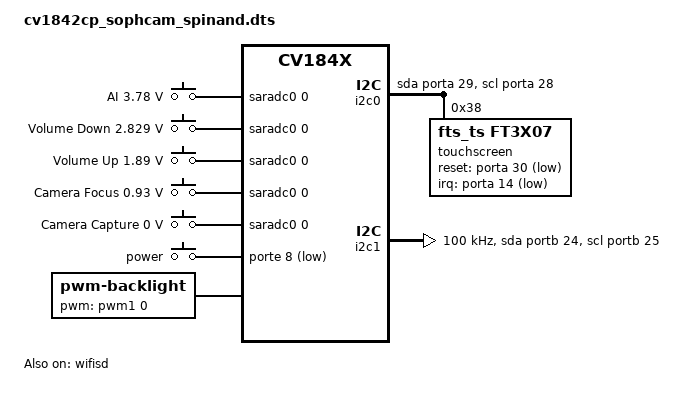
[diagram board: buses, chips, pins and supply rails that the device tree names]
/dts-v1/;
#include "cv184x_base_arm.dtsi"
#include "cv184x_asic_qfn.dtsi"
#include "cv184x_asic_spinand.dtsi"
#include "cv184x_default_memmap.dtsi"

/ {
	adc-key2 {
		compatible = "adc-keys";
		io-channels = <&saradc0 0>; // ADC1
		io-channel-names = "buttons";
		keyup-threshold-microvolt = <4095000>; // raw value
		poll-interval = <50>; // ms
		debounce-steps = <2>; // 2次采样值相同才认为按键状态改变

		button-ai {
			label = "AI";
			linux,code = <KEY_PLAY>;
			press-threshold-microvolt = <3780000>;
		};

		button-vol-down {
			label = "Volume Down";
			linux,code = <KEY_VOLUMEDOWN>;
			press-threshold-microvolt = <2829000>;
		};

		button-vol-up {
			label = "Volume Up";
			linux,code = <KEY_VOLUMEUP>;
			press-threshold-microvolt = <1890000>;
		};

		button-cam-focus {
			label = "Camera Focus";
			linux,code = <KEY_CAMERA_FOCUS>;
			press-threshold-microvolt = <930000>;
		};

		button-cam-cap {
			label = "Camera Capture";
			linux,code = <KEY_CAMERA>;
			press-threshold-microvolt = <0>;
		};
	};

	power-key {
		compatible = "gpio-keys";

		power {
			label = "power";
			gpios = <&porte 8 GPIO_ACTIVE_LOW>;
			linux,code = <KEY_POWER>;
		};
	};

	backlight: backlight {
		compatible = "pwm-backlight";
		pwms = <&pwm1 0 100000>;
		brightness-levels = <
			0   1   2   3   4   5   6   7
			8   9  10   11  12  13  14  15
			16  17  18  19  20  21  22  23
			24  25  26  27  28  29  30  31
			32  33  34  35  36  37  38  39
			40  41  42  43  44  45  46  47
			48  49  50  51  52  53  54  55
			56  57  58  59  60  61  62  63
			64  65  66  67  68  69  70  71
			72  73  74  75  76  77  78  79
			80  81  82  83  84  85  86  87
			88  89  90  91  92  93  94  95
			96  97  98  99  100 101 102 103
			104 105 106 107 108 109 110 111
			112 113 114 115 116 117 118 119
			120 121 122 123 124 125 126 127
			128 129 130 131 132 133 134 135
			136 137 138 139 140 141 142 143
			144 145 146 147 148 149 150 151
			152 153 154 155 156 157 158 159
			160 161 162 163 164 165 166 167
			168 169 170 171 172 173 174 175
			176 177 178 179 180 181 182 183
			184 185 186 187 188 189 190 191
			192 193 194 195 196 197 198 199
			200 201 202 203 204 205 206 207
			208 209 210 211 212 213 214 215
			216 217 218 219 220 221 222 223
			224 225 226 227 228 229 230 231
			232 233 234 235 236 237 238 239
			240 241 242 243 244 245 246 247
			248 249 250 251 252 253 254 255 >;
		default-brightness-level = <200>;
		post-pwm-on-delay-ms = <10>;
	};

	/delete-node/ ethernet@4070000;
	/delete-node/ keyscan@03040000;
	/delete-node/ irrx@0502E000;
	/delete-node/ i2c@04020000; // i2c2
	/delete-node/ i2c@04030000; // i2c3
	/delete-node/ i2c@04040000; // i2c4
	/delete-node/ i2s@4110000; // i2s1 // 用于数字麦
	/delete-node/ i2s@4120000; // i2s2 // 用于数字麦
	// /detete-node/ spi0@04180000; // spi0
	// /detete-node/ spi1@04190000; // spi1
	/delete-node/ spi2@041A0000; // spi2
	/delete-node/ spi3@041B0000; // spi3
	/delete-node/ serial@04160000; // uart2
	/delete-node/ serial@04170000; // uart3
	/delete-node/ serial@041C0000; // uart4

	aliases {
		/delete-property/ ethernet0;
		/delete-property/ serial2;
		/delete-property/ serial3;
		/delete-property/ serial4;
		/delete-property/ i2c2;
		/delete-property/ i2c3;
		/delete-property/ i2c4;
	};
};

&i2c0 {
	status = "okay";
	/* FMUX_GPIO_REG iic_func_sel gpio_func_sel */
	scl-pinmux = <0x03001070 0x0 0x3>;	// CV_SCL(0)/XGPIOA[28](3)
	sda-pinmux = <0x03001074 0x0 0x3>;	// CV_SDA(0)/XGPIOA[29](3)
	/* gpio port */
	scl-gpios = <&porta 28 GPIO_ACTIVE_HIGH>;
	sda-gpios = <&porta 29 GPIO_ACTIVE_HIGH>;

	touchscreen@38 {
		compatible = "fts_ts,ft3x07";
		reg = <0x38>;
		touch,reset-gpio = <&porta 30 GPIO_ACTIVE_LOW>;
		touch,irq-gpio = <&porta 14 GPIO_ACTIVE_LOW>;
	};
};

&i2c1 {
	status = "okay";
	clock-frequency = <100000>;
	/* FMUX_GPIO_REG iic_func_sel gpio_func_sel */
	scl-pinmux = <0x03001128 0x2 0x3>;	// PAD_ETH_TXP/IIC1_SCL/XGPIOB[25]
	sda-pinmux = <0x0300112C 0x2 0x3>;	// PAD_ETH_TXM/IIC1_SDA/XGPIOC[24]
	/* gpio port */
	scl-gpios = <&portb 25 GPIO_ACTIVE_HIGH>;
	sda-gpios = <&portb 24 GPIO_ACTIVE_HIGH>;
};

&wifisd{
	status = "okay";
};

&wifi_pin{
	poweron-gpio = <&porta 19 GPIO_ACTIVE_HIGH>;
};
